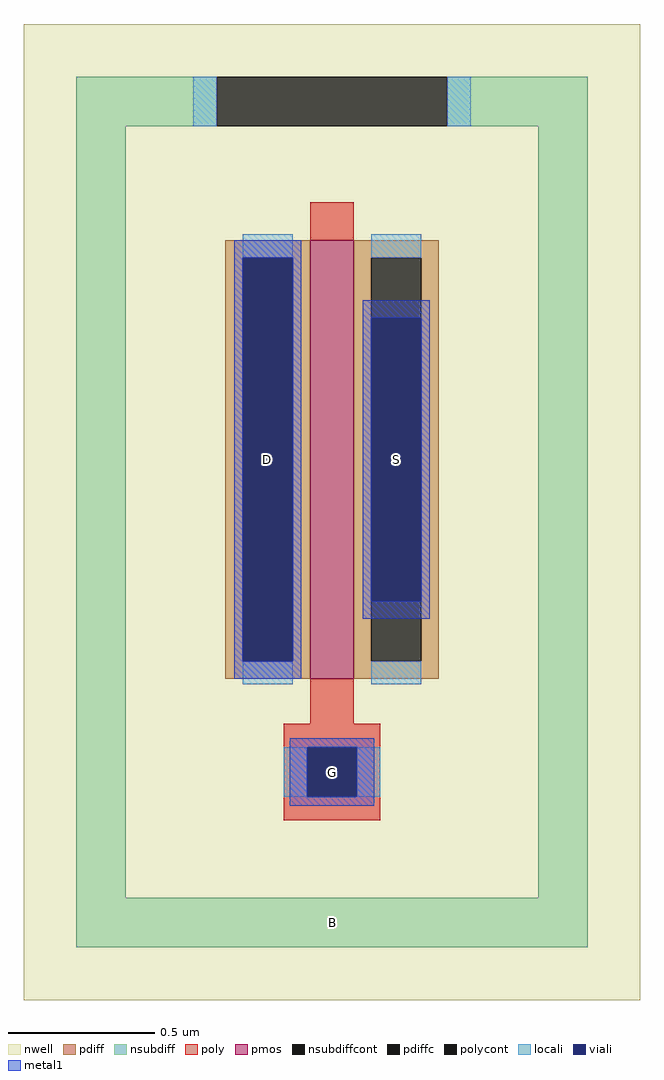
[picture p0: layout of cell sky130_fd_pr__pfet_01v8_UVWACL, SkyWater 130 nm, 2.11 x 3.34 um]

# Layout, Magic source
magic
tech sky130A
magscale 1 2
<< nwell >>
rect -211 -334 211 334
<< pmos >>
rect -15 -114 15 186
<< pdiff >>
rect -73 174 -15 186
rect -73 -102 -61 174
rect -27 -102 -15 174
rect -73 -114 -15 -102
rect 15 174 73 186
rect 15 -102 27 174
rect 61 -102 73 174
rect 15 -114 73 -102
<< pdiffc >>
rect -61 -102 -27 174
rect 27 -102 61 174
<< nsubdiff >>
rect -175 264 -79 298
rect 79 264 175 298
rect -175 -264 -141 264
rect 141 -264 175 264
rect -175 -298 175 -264
<< nsubdiffcont >>
rect -79 264 79 298
<< poly >>
rect -15 186 15 212
rect -15 -145 15 -114
rect -33 -161 33 -145
rect -33 -195 -17 -161
rect 17 -195 33 -161
rect -33 -211 33 -195
<< polycont >>
rect -17 -195 17 -161
<< locali >>
rect -95 264 -79 298
rect 79 264 95 298
rect -61 174 -27 190
rect -61 -118 -27 -102
rect 27 174 61 190
rect 27 -118 61 -102
rect -33 -195 -17 -161
rect 17 -195 33 -161
<< viali >>
rect -61 -102 -27 174
rect 27 -61 61 133
rect -17 -195 17 -161
<< metal1 >>
rect -67 174 -21 186
rect -67 -102 -61 174
rect -27 -102 -21 174
rect 21 133 67 145
rect 21 -61 27 133
rect 61 -61 67 133
rect 21 -73 67 -61
rect -67 -114 -21 -102
rect -29 -161 29 -155
rect -29 -195 -17 -161
rect 17 -195 29 -161
rect -29 -201 29 -195
<< labels >>
rlabel nsubdiff 0 -281 0 -281 0 B
port 1 nsew
rlabel pdiffc -44 36 -44 36 0 D
port 2 nsew
rlabel pdiffc 44 36 44 36 0 S
port 3 nsew
rlabel polycont 0 -178 0 -178 0 G
port 4 nsew
<< properties >>
string FIXED_BBOX -158 -281 158 281
string gencell sky130_fd_pr__pfet_01v8
string library sky130
string parameters w 1.5 l 0.15 m 1 nf 1 diffcov 100 polycov 100 guard 1 glc 0 grc 0 gtc 1 gbc 0 tbcov 100 rlcov 100 topc 0 botc 1 poverlap 0 doverlap 1 lmin 0.15 wmin 0.42 class mosfet compatible {sky130_fd_pr__pfet_01v8  sky130_fd_pr__pfet_01v8_lvt sky130_fd_pr__pfet_01v8_hvt  sky130_fd_pr__pfet_g5v0d10v5} full_metal 0 viasrc 70 viadrn 100 viagate 100 viagb 0 viagr 0 viagl 0 viagt 0 doports 1
<< end >>
